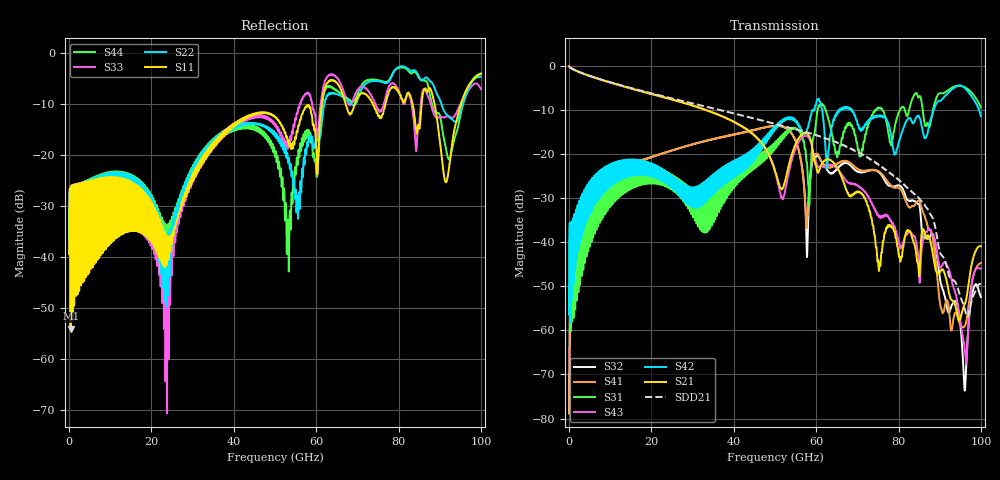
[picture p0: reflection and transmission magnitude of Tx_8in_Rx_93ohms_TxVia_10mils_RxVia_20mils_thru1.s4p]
! Info: Touchstone file created by Circ.  Input file=Tx_8in_Rx_93ohms_TxVia_10mils_RxVia_20mils.circ
# Hz S RI R 50
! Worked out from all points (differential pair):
!   10000 points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, 10 MHz to 100 GHz, reference 50 ohm
!   strongest paths, dB at 10 MHz, 25.01 GHz, 50.01 GHz, 75.01 GHz, 100 GHz:
!     S21: -0.1, -7.7, -23.8, -44.0, -40.9
!     S42: -56.4, -25.0, -13.8, -11.4, -11.4
!     S43: -0.1, -7.7, -24.0, -33.7, -46.0
!     S31: -56.4, -24.7, -17.6, -9.7, -9.5
!     S41: -78.8, -19.2, -13.7, -23.8, -44.7
!     S32: -78.8, -19.2, -13.6, -24.0, -52.5
!   taken as a pair (ports 1,3 in; 2,4 out), SDD21 dB: -0.1, -7.4, -13.2, -22.3, -49.5
!   lowest |S11| = -54.1 dB at 400 MHz (marker M1), VSWR 1.00, Z = 49.8 + j0.0945 ohm
!   |S11| at or under -10 dB: start of sweep to 61.35 GHz; 73.79 GHz to 76.78 GHz (2.994 GHz wide, 3.98 % of centre); 88.77 GHz to 95.13 GHz (6.356 GHz wide, 6.91 % of centre) (the widest 3 of 5)
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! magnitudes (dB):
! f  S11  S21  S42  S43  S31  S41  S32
! 10 MHz  -39.3  -0.1  -56.4  -0.1  -56.4  -78.8  -78.8
! 400 MHz  -54.1  -0.5  -45.5  -0.5  -45.6  -49.2  -49.2
! 23.82 GHz  -40.5  -7.4  -24.1  -7.4  -24.1  -19.6  -19.6
! 50.15 GHz  -12.6  -24.2  -14.4  -24.6  -18.8  -13.6  -13.6
! 84.67 GHz  -14.6  -44.7  -11.4  -42.2  -7.0  -30.7  -31.3
! 96.04 GHz  -7.9  -54.1  -5.0  -63.9  -4.9  -59.1  -73.5
! 100 GHz  -4.0  -40.9  -11.4  -46.0  -9.5  -44.7  -52.5
